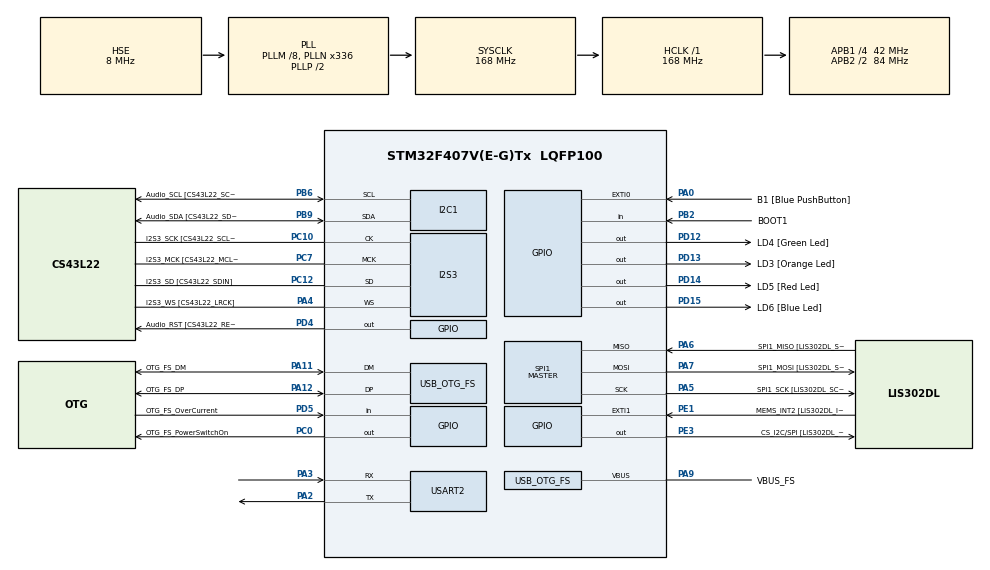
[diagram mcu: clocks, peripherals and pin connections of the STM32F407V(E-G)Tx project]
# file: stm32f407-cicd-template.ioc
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I2S3.AudioFreq-Half_Duplex_Master=I2S_AUDIOFREQ_96K
I2S3.ErrorAudioFreq=-2.34 %
I2S3.ErrorAudioFreq-Half_Duplex_Master=0.8 %
I2S3.FullDuplexMode=I2S_FULLDUPLEXMODE_DISABLE
I2S3.Instance=SPI$Index
I2S3.RealAudioFreq=93.75 KHz
I2S3.RealAudioFreq-Half_Duplex_Master=96.774 KHz
I2S3.VirtualMode=I2S_MODE_MASTER
Mcu.Family=STM32F4
Mcu.Name=STM32F407V(E-G)Tx
Mcu.Package=LQFP100
NVIC.OTG_FS_IRQn=true\:0\:0\:false\:false\:true\:true\:true\:true
NVIC.PriorityGroup=NVIC_PRIORITYGROUP_0
PA0-WKUP.GPIO_Label=B1 [Blue PushButton]
PA0-WKUP.GPIO_ModeDefaultEXTI=GPIO_MODE_EVT_RISING
PA0-WKUP.GPIO_PuPd=GPIO_NOPULL
PA0-WKUP.Signal=GPXTI0
PA10.GPIO_Label=OTG_FS_ID
PA10.GPIO_Mode=GPIO_MODE_AF_PP
PA10.GPIO_PuPd=GPIO_NOPULL
PA10.GPIO_Speed=GPIO_SPEED_FREQ_LOW
PA10.Signal=USB_OTG_FS_ID
PA11.GPIO_Label=OTG_FS_DM
PA11.GPIO_Mode=GPIO_MODE_AF_PP
PA11.GPIO_PuPd=GPIO_NOPULL
PA11.GPIO_Speed=GPIO_SPEED_FREQ_LOW
PA11.Mode=Host_Only
PA11.Signal=USB_OTG_FS_DM
PA12.GPIO_Label=OTG_FS_DP
PA12.GPIO_Mode=GPIO_MODE_AF_PP
PA12.GPIO_PuPd=GPIO_NOPULL
PA12.GPIO_Speed=GPIO_SPEED_FREQ_LOW
PA12.Mode=Host_Only
PA12.Signal=USB_OTG_FS_DP
PA13.GPIO_Label=SWDIO
PA13.Mode=Serial_Wire
PA13.Signal=SYS_JTMS-SWDIO
PA14.GPIO_Label=SWCLK
PA14.Mode=Serial_Wire
PA14.Signal=SYS_JTCK-SWCLK
PA2.Mode=Asynchronous
PA2.Signal=USART2_TX
PA3.Mode=Asynchronous
PA3.Signal=USART2_RX
PA4.GPIO_Label=I2S3_WS [CS43L22_LRCK]
PA4.GPIO_Mode=GPIO_MODE_AF_PP
PA4.GPIO_PuPd=GPIO_NOPULL
PA4.GPIO_Speed=GPIO_SPEED_FREQ_LOW
PA4.Mode=Half_Duplex_Master
PA4.Signal=I2S3_WS
PA5.GPIO_Label=SPI1_SCK [LIS302DL_SCL/SPC]
PA5.GPIO_Mode=GPIO_MODE_AF_PP
PA5.GPIO_PuPd=GPIO_NOPULL
PA5.GPIO_Speed=GPIO_SPEED_FREQ_LOW
PA5.Mode=Full_Duplex_Master
PA5.Signal=SPI1_SCK
PA6.GPIO_Label=SPI1_MISO [LIS302DL_SDO]
PA6.GPIO_Mode=GPIO_MODE_AF_PP
PA6.GPIO_PuPd=GPIO_NOPULL
PA6.GPIO_Speed=GPIO_SPEED_FREQ_LOW
PA6.Mode=Full_Duplex_Master
PA6.Signal=SPI1_MISO
PA7.GPIO_Label=SPI1_MOSI [LIS302DL_SDA/SDI/SDO]
PA7.GPIO_Mode=GPIO_MODE_AF_PP
PA7.GPIO_PuPd=GPIO_NOPULL
PA7.GPIO_Speed=GPIO_SPEED_FREQ_LOW
PA7.Mode=Full_Duplex_Master
PA7.Signal=SPI1_MOSI
PA9.GPIO_Label=VBUS_FS
PA9.GPIO_Mode=GPIO_MODE_INPUT
PA9.GPIO_PuPd=GPIO_NOPULL
PA9.Mode=Activate_VBUS
PA9.Signal=USB_OTG_FS_VBUS
PB10.GPIO_Label=CLK_IN [MP45DT02_CLK]
PB10.GPIO_Mode=GPIO_MODE_AF_PP
PB10.GPIO_PuPd=GPIO_NOPULL
PB10.GPIO_Speed=GPIO_SPEED_FREQ_LOW
PB10.Signal=I2S2_CK
PB2.GPIO_Label=BOOT1
PB2.GPIO_Mode=GPIO_MODE_INPUT
PB2.GPIO_PuPd=GPIO_NOPULL
PB2.Signal=GPIO_Input
PB3.GPIO_Label=SWO
PB3.Signal=SYS_JTDO-SWO
PB6.GPIO_Label=Audio_SCL [CS43L22_SCL]
PB6.GPIO_Mode=GPIO_MODE_AF_OD
PB6.GPIO_Pu=GPIO_PULLUP
PB6.GPIO_PuPd=GPIO_NOPULL
PB6.GPIO_Speed=GPIO_SPEED_FREQ_LOW
PB6.Mode=I2C
PB6.Signal=I2C1_SCL
PB9.GPIO_Label=Audio_SDA [CS43L22_SDA]
PB9.GPIO_Mode=GPIO_MODE_AF_OD
PB9.GPIO_Pu=GPIO_PULLUP
PB9.GPIO_PuPd=GPIO_NOPULL
PB9.GPIO_Speed=GPIO_SPEED_FREQ_LOW
PB9.Mode=I2C
PB9.Signal=I2C1_SDA
PC0.GPIO_Label=OTG_FS_PowerSwitchOn
PC0.GPIO_PuPd=GPIO_NOPULL
PC0.GPIO_Speed=GPIO_SPEED_FREQ_LOW
PC0.PinState=GPIO_PIN_SET
PC0.Signal=GPIO_Output
PC10.GPIO_Label=I2S3_SCK [CS43L22_SCLK]
PC10.GPIO_Mode=GPIO_MODE_AF_PP
PC10.GPIO_PuPd=GPIO_NOPULL
PC10.GPIO_Speed=GPIO_SPEED_FREQ_LOW
PC10.Mode=Half_Duplex_Master
PC10.Signal=I2S3_CK
PC12.GPIO_Label=I2S3_SD [CS43L22_SDIN]
PC12.GPIO_Mode=GPIO_MODE_AF_PP
PC12.GPIO_PuPd=GPIO_NOPULL
PC12.GPIO_Speed=GPIO_SPEED_FREQ_LOW
PC12.Mode=Half_Duplex_Master
PC12.Signal=I2S3_SD
PC14-OSC32_IN.GPIO_Label=PC14-OSC32_IN
PC14-OSC32_IN.Mode=LSE-External-Oscillator
PC14-OSC32_IN.Signal=RCC_OSC32_IN
PC15-OSC32_OUT.GPIO_Label=PC15-OSC32_OUT
PC15-OSC32_OUT.Mode=LSE-External-Oscillator
PC15-OSC32_OUT.Signal=RCC_OSC32_OUT
PC3.GPIO_Label=PDM_OUT [MP45DT02_DOUT]
PC3.GPIO_Mode=GPIO_MODE_AF_PP
PC3.GPIO_PuPd=GPIO_NOPULL
PC3.GPIO_Speed=GPIO_SPEED_FREQ_LOW
PC3.Signal=I2S2_SD
PC7.GPIO_Label=I2S3_MCK [CS43L22_MCLK]
PC7.GPIO_Mode=GPIO_MODE_AF_PP
PC7.GPIO_PuPd=GPIO_NOPULL
PC7.GPIO_Speed=GPIO_SPEED_FREQ_LOW
PC7.Mode=Master_Clock_Activated
PC7.Signal=I2S3_MCK
PD12.GPIO_Label=LD4 [Green Led]
PD12.GPIO_PuPd=GPIO_NOPULL
PD12.GPIO_Speed=GPIO_SPEED_FREQ_LOW
PD12.Signal=GPIO_Output
PD13.GPIO_Label=LD3 [Orange Led]
PD13.GPIO_PuPd=GPIO_NOPULL
PD13.GPIO_Speed=GPIO_SPEED_FREQ_LOW
PD13.Signal=GPIO_Output
PD14.GPIO_Label=LD5 [Red Led]
PD14.GPIO_PuPd=GPIO_NOPULL
PD14.GPIO_Speed=GPIO_SPEED_FREQ_LOW
PD14.Signal=GPIO_Output
PD15.GPIO_Label=LD6 [Blue Led]
PD15.GPIO_PuPd=GPIO_NOPULL
PD15.GPIO_Speed=GPIO_SPEED_FREQ_LOW
PD15.Signal=GPIO_Output
PD4.GPIO_Label=Audio_RST [CS43L22_RESET]
PD4.GPIO_PuPd=GPIO_NOPULL
PD4.GPIO_Speed=GPIO_SPEED_FREQ_LOW
PD4.Signal=GPIO_Output
PD5.GPIO_Label=OTG_FS_OverCurrent
PD5.GPIO_Mode=GPIO_MODE_INPUT
PD5.GPIO_PuPd=GPIO_NOPULL
PD5.Signal=GPIO_Input
PE1.GPIO_Label=MEMS_INT2 [LIS302DL_INT2]
PE1.GPIO_ModeDefaultEXTI=GPIO_MODE_EVT_RISING
PE1.GPIO_PuPd=GPIO_NOPULL
PE1.Signal=GPXTI1
PE3.GPIO_Label=CS_I2C/SPI [LIS302DL_CS_I2C/SPI]
PE3.GPIO_PuPd=GPIO_NOPULL
PE3.GPIO_Speed=GPIO_SPEED_FREQ_LOW
PE3.Signal=GPIO_Output
PH0-OSC_IN.GPIO_Label=PH0-OSC_IN
PH0-OSC_IN.Mode=HSE-External-Oscillator
PH0-OSC_IN.Signal=RCC_OSC_IN
PH1-OSC_OUT.GPIO_Label=PH1-OSC_OUT
PH1-OSC_OUT.Mode=HSE-External-Oscillator
PH1-OSC_OUT.Signal=RCC_OSC_OUT
ProjectManager.HeapSize=0x200
ProjectManager.StackSize=0x400
ProjectManager.TargetToolchain=STM32CubeIDE
RCC.48MHZClocksFreq_Value=48000000
RCC.AHBFreq_Value=168000000
RCC.APB1CLKDivider=RCC_HCLK_DIV4
RCC.APB1Freq_Value=42000000
RCC.APB1TimFreq_Value=84000000
RCC.APB2CLKDivider=RCC_HCLK_DIV2
RCC.APB2Freq_Value=84000000
RCC.APB2TimFreq_Value=168000000
RCC.CortexFreq_Value=168000000
RCC.HCLKFreq_Value=168000000
RCC.HSE_VALUE=8000000
RCC.HSI_VALUE=16000000
RCC.PLLM=8
RCC.PLLN=336
RCC.PLLQ=7
RCC.SYSCLKFreq_VALUE=168000000
RCC.SYSCLKSource=RCC_SYSCLKSOURCE_PLLCLK
RCC.VCOOutputFreq_Value=336000000
SPI1.BaudRatePrescaler-Full_Duplex_Master=SPI_BAUDRATEPRESCALER_2
SPI1.CalculateBaudRate-Full_Duplex_Master=42.0 MBits/s
SPI1.Direction=SPI_DIRECTION_2LINES
SPI1.Mode=SPI_MODE_MASTER
SPI1.Mode-Full_Duplex_Master=SPI_MODE_MASTER
SPI1.VirtualType=VM_MASTER
USART2.VirtualMode=VM_ASYNC
USB_HOST.BSP.number=1
USB_HOST.USBH_HandleTypeDef-CDC_FS=hUsbHostFS
USB_HOST.VirtualModeFS=Cdc
USB_HOST0.BSP.STBoard=false
USB_HOST0.BSP.api=Unknown
USB_HOST0.BSP.instance=PC0
USB_HOST0.BSP.ip=GPIO
USB_HOST0.BSP.mode=Output
USB_HOST0.BSP.name=Drive_VBUS_FS
USB_HOST0.BSP.solution=PC0
USB_OTG_FS.VirtualMode=Host_Only
USB_OTG_FS.phy_itface=HCD_PHY_EMBEDDED
VP_USB_HOST_VS_USB_HOST_CDC_FS.Mode=CDC_FS
board=STM32F407G-DISC1

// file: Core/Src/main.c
/* USER CODE BEGIN Header */
/**
  ******************************************************************************
  * @file           : main.c
  * @brief          : Main program body
  ******************************************************************************
  * @attention
  *
  * Copyright (c) 2026 STMicroelectronics.
  * All rights reserved.
  *
  * This software is licensed under terms that can be found in the LICENSE file
  * in the root directory of this software component.
  * If no LICENSE file comes with this software, it is provided AS-IS.
  *
  ******************************************************************************
  */
/* USER CODE END Header */
#include "main.h"
#include "usb_host.h"

I2C_HandleTypeDef hi2c1;

I2S_HandleTypeDef hi2s3;

SPI_HandleTypeDef hspi1;

UART_HandleTypeDef huart2;

void SystemClock_Config(void);
static void MX_GPIO_Init(void);
static void MX_I2C1_Init(void);
static void MX_I2S3_Init(void);
static void MX_SPI1_Init(void);
static void MX_USART2_UART_Init(void);
void MX_USB_HOST_Process(void);

int main(void)
{

  /* MCU Configuration--------------------------------------------------------*/

  /* Reset of all peripherals, Initializes the Flash interface and the Systick. */
  HAL_Init();

  /* Configure the system clock */
  SystemClock_Config();

  /* Initialize all configured peripherals */
  MX_GPIO_Init();
  MX_I2C1_Init();
  MX_I2S3_Init();
  MX_SPI1_Init();
  MX_USB_HOST_Init();
  MX_USART2_UART_Init();

  /* Infinite loop */
  /* USER CODE BEGIN WHILE */
while (1)
{
    /*
     * These static variables are initialized only once.
     * Their values are preserved between loop iterations.
     */
    static uint32_t lastLedUpdateMs = 0U;
    static uint32_t lastButtonChangeMs = 0U;

    static uint8_t currentLed = 0U;
    static int8_t direction = 1;

    static GPIO_PinState lastButtonReading = GPIO_PIN_RESET;
    static GPIO_PinState stableButtonState = GPIO_PIN_RESET;

    uint32_t currentTimeMs;
    GPIO_PinState currentButtonReading;

    currentTimeMs = HAL_GetTick();

    /*
     * Read the blue user button.
     * B1 on PA0 becomes GPIO_PIN_SET when pressed.
     */
    currentButtonReading = HAL_GPIO_ReadPin(
        B1_GPIO_Port,
        B1_Pin
    );

    /*
     * Detect a change in the raw button signal.
     * Restart the debounce timer whenever a transition occurs.
     */
    if (currentButtonReading != lastButtonReading)
    {
        lastButtonReading = currentButtonReading;
        lastButtonChangeMs = currentTimeMs;
    }

    /*
     * Accept the new button state only after it remains
     * stable for at least 50 milliseconds.
     */
    if ((currentTimeMs - lastButtonChangeMs) >= 100U)
    {
        if (currentButtonReading != stableButtonState)
        {
            stableButtonState = currentButtonReading;

            /*
             * Change direction only on the press event.
             * Releasing the button does not change the direction.
             */
            if (stableButtonState == GPIO_PIN_SET)
            {
                direction = (int8_t)(-direction);
            }
        }
    }

    /*
     * Update the LED sequence every 150 milliseconds.
     * No HAL_Delay() is necessary.
     */
    if ((currentTimeMs - lastLedUpdateMs) >= 1030U)
    {
        lastLedUpdateMs = currentTimeMs;

        /*
         * Turn off all user LEDs.
         */
        HAL_GPIO_WritePin(
            GPIOD,
            LD3_Pin | LD4_Pin | LD5_Pin | LD6_Pin,
            GPIO_PIN_RESET
        );

        /*
         * Turn on the currently selected LED.
         *
         * currentLed = 0 -> LD4, green
         * currentLed = 1 -> LD3, orange
         * currentLed = 2 -> LD5, red
         * currentLed = 3 -> LD6, blue
         */
        switch (currentLed)
        {
            case 0U:
            {
                HAL_GPIO_WritePin(
                    LD4_GPIO_Port,
                    LD4_Pin,
                    GPIO_PIN_SET
                );
                break;
            }

            case 1U:
            {
                HAL_GPIO_WritePin(
                    LD3_GPIO_Port,
                    LD3_Pin,
                    GPIO_PIN_SET
                );
                break;
            }

            case 2U:
            {
                HAL_GPIO_WritePin(
                    LD5_GPIO_Port,
                    LD5_Pin,
                    GPIO_PIN_SET
                );
                break;
            }

            case 3U:
            {
                HAL_GPIO_WritePin(
                    LD6_GPIO_Port,
                    LD6_Pin,
                    GPIO_PIN_SET
                );
                break;
            }

            default:
            {
                currentLed = 0U;
                break;
            }
        }

        /*
         * Calculate the next LED according to the current direction.
         */
        if (direction > 0)
        {
            currentLed++;

            if (currentLed >= 4U)
            {
                currentLed = 0U;
            }
        }
        else
        {
            if (currentLed == 0U)
            {
                currentLed = 3U;
            }
            else
            {
                currentLed--;
            }
        }
    }

    /* USER CODE END WHILE */
    MX_USB_HOST_Process();

}
}

void SystemClock_Config(void)
{
  RCC_OscInitTypeDef RCC_OscInitStruct = {0};
  RCC_ClkInitTypeDef RCC_ClkInitStruct = {0};

  /** Configure the main internal regulator output voltage
  */
  __HAL_RCC_PWR_CLK_ENABLE();
  __HAL_PWR_VOLTAGESCALING_CONFIG(PWR_REGULATOR_VOLTAGE_SCALE1);

  /** Initializes the RCC Oscillators according to the specified parameters
  * in the RCC_OscInitTypeDef structure.
  */
  RCC_OscInitStruct.OscillatorType = RCC_OSCILLATORTYPE_HSE;
  RCC_OscInitStruct.HSEState = RCC_HSE_ON;
  RCC_OscInitStruct.PLL.PLLState = RCC_PLL_ON;
  RCC_OscInitStruct.PLL.PLLSource = RCC_PLLSOURCE_HSE;
  RCC_OscInitStruct.PLL.PLLM = 8;
  RCC_OscInitStruct.PLL.PLLN = 336;
  RCC_OscInitStruct.PLL.PLLP = RCC_PLLP_DIV2;
  RCC_OscInitStruct.PLL.PLLQ = 7;
  if (HAL_RCC_OscConfig(&RCC_OscInitStruct) != HAL_OK)
  {
    Error_Handler();
  }

  /** Initializes the CPU, AHB and APB buses clocks
  */
  RCC_ClkInitStruct.ClockType = RCC_CLOCKTYPE_HCLK|RCC_CLOCKTYPE_SYSCLK
                              |RCC_CLOCKTYPE_PCLK1|RCC_CLOCKTYPE_PCLK2;
  RCC_ClkInitStruct.SYSCLKSource = RCC_SYSCLKSOURCE_PLLCLK;
  RCC_ClkInitStruct.AHBCLKDivider = RCC_SYSCLK_DIV1;
  RCC_ClkInitStruct.APB1CLKDivider = RCC_HCLK_DIV4;
  RCC_ClkInitStruct.APB2CLKDivider = RCC_HCLK_DIV2;

  if (HAL_RCC_ClockConfig(&RCC_ClkInitStruct, FLASH_LATENCY_5) != HAL_OK)
  {
    Error_Handler();
  }
}

static void MX_I2C1_Init(void)
{

  hi2c1.Instance = I2C1;
  hi2c1.Init.ClockSpeed = 100000;
  hi2c1.Init.DutyCycle = I2C_DUTYCYCLE_2;
  hi2c1.Init.OwnAddress1 = 0;
  hi2c1.Init.AddressingMode = I2C_ADDRESSINGMODE_7BIT;
  hi2c1.Init.DualAddressMode = I2C_DUALADDRESS_DISABLE;
  hi2c1.Init.OwnAddress2 = 0;
  hi2c1.Init.GeneralCallMode = I2C_GENERALCALL_DISABLE;
  hi2c1.Init.NoStretchMode = I2C_NOSTRETCH_DISABLE;
  if (HAL_I2C_Init(&hi2c1) != HAL_OK)
  {
    Error_Handler();
  }

}

static void MX_I2S3_Init(void)
{

  hi2s3.Instance = SPI3;
  hi2s3.Init.Mode = I2S_MODE_MASTER_TX;
  hi2s3.Init.Standard = I2S_STANDARD_PHILIPS;
  hi2s3.Init.DataFormat = I2S_DATAFORMAT_16B;
  hi2s3.Init.MCLKOutput = I2S_MCLKOUTPUT_ENABLE;
  hi2s3.Init.AudioFreq = I2S_AUDIOFREQ_96K;
  hi2s3.Init.CPOL = I2S_CPOL_LOW;
  hi2s3.Init.ClockSource = I2S_CLOCK_PLL;
  hi2s3.Init.FullDuplexMode = I2S_FULLDUPLEXMODE_DISABLE;
  if (HAL_I2S_Init(&hi2s3) != HAL_OK)
  {
    Error_Handler();
  }

}

static void MX_SPI1_Init(void)
{

  /* SPI1 parameter configuration*/
  hspi1.Instance = SPI1;
  hspi1.Init.Mode = SPI_MODE_MASTER;
  hspi1.Init.Direction = SPI_DIRECTION_2LINES;
  hspi1.Init.DataSize = SPI_DATASIZE_8BIT;
  hspi1.Init.CLKPolarity = SPI_POLARITY_LOW;
  hspi1.Init.CLKPhase = SPI_PHASE_1EDGE;
  hspi1.Init.NSS = SPI_NSS_SOFT;
  hspi1.Init.BaudRatePrescaler = SPI_BAUDRATEPRESCALER_2;
  hspi1.Init.FirstBit = SPI_FIRSTBIT_MSB;
  hspi1.Init.TIMode = SPI_TIMODE_DISABLE;
  hspi1.Init.CRCCalculation = SPI_CRCCALCULATION_DISABLE;
  hspi1.Init.CRCPolynomial = 10;
  if (HAL_SPI_Init(&hspi1) != HAL_OK)
  {
    Error_Handler();
  }

}

static void MX_USART2_UART_Init(void)
{

  huart2.Instance = USART2;
  huart2.Init.BaudRate = 115200;
  huart2.Init.WordLength = UART_WORDLENGTH_8B;
  huart2.Init.StopBits = UART_STOPBITS_1;
  huart2.Init.Parity = UART_PARITY_NONE;
  huart2.Init.Mode = UART_MODE_TX_RX;
  huart2.Init.HwFlowCtl = UART_HWCONTROL_NONE;
  huart2.Init.OverSampling = UART_OVERSAMPLING_16;
  if (HAL_UART_Init(&huart2) != HAL_OK)
  {
    Error_Handler();
  }

}

static void MX_GPIO_Init(void)
{
  GPIO_InitTypeDef GPIO_InitStruct = {0};

  /* GPIO Ports Clock Enable */
  __HAL_RCC_GPIOE_CLK_ENABLE();
  __HAL_RCC_GPIOC_CLK_ENABLE();
  __HAL_RCC_GPIOH_CLK_ENABLE();
  __HAL_RCC_GPIOA_CLK_ENABLE();
  __HAL_RCC_GPIOB_CLK_ENABLE();
  __HAL_RCC_GPIOD_CLK_ENABLE();

  /*Configure GPIO pin Output Level */
  HAL_GPIO_WritePin(CS_I2C_SPI_GPIO_Port, CS_I2C_SPI_Pin, GPIO_PIN_RESET);

  /*Configure GPIO pin Output Level */
  HAL_GPIO_WritePin(OTG_FS_PowerSwitchOn_GPIO_Port, OTG_FS_PowerSwitchOn_Pin, GPIO_PIN_SET);

  /*Configure GPIO pin Output Level */
  HAL_GPIO_WritePin(GPIOD, LD4_Pin|LD3_Pin|LD5_Pin|LD6_Pin
                          |Audio_RST_Pin, GPIO_PIN_RESET);

  /*Configure GPIO pin : CS_I2C_SPI_Pin */
  GPIO_InitStruct.Pin = CS_I2C_SPI_Pin;
  GPIO_InitStruct.Mode = GPIO_MODE_OUTPUT_PP;
  GPIO_InitStruct.Pull = GPIO_NOPULL;
  GPIO_InitStruct.Speed = GPIO_SPEED_FREQ_LOW;
  HAL_GPIO_Init(CS_I2C_SPI_GPIO_Port, &GPIO_InitStruct);

  /*Configure GPIO pin : OTG_FS_PowerSwitchOn_Pin */
  GPIO_InitStruct.Pin = OTG_FS_PowerSwitchOn_Pin;
  GPIO_InitStruct.Mode = GPIO_MODE_OUTPUT_PP;
  GPIO_InitStruct.Pull = GPIO_NOPULL;
  GPIO_InitStruct.Speed = GPIO_SPEED_FREQ_LOW;
  HAL_GPIO_Init(OTG_FS_PowerSwitchOn_GPIO_Port, &GPIO_InitStruct);

  /*Configure GPIO pin : PDM_OUT_Pin */
  GPIO_InitStruct.Pin = PDM_OUT_Pin;
  GPIO_InitStruct.Mode = GPIO_MODE_AF_PP;
  GPIO_InitStruct.Pull = GPIO_NOPULL;
  GPIO_InitStruct.Speed = GPIO_SPEED_FREQ_LOW;
  GPIO_InitStruct.Alternate = GPIO_AF5_SPI2;
  HAL_GPIO_Init(PDM_OUT_GPIO_Port, &GPIO_InitStruct);

  /*Configure GPIO pin : B1_Pin */
  GPIO_InitStruct.Pin = B1_Pin;
  GPIO_InitStruct.Mode = GPIO_MODE_EVT_RISING;
  GPIO_InitStruct.Pull = GPIO_NOPULL;
  HAL_GPIO_Init(B1_GPIO_Port, &GPIO_InitStruct);

  /*Configure GPIO pin : BOOT1_Pin */
  GPIO_InitStruct.Pin = BOOT1_Pin;
  GPIO_InitStruct.Mode = GPIO_MODE_INPUT;
  GPIO_InitStruct.Pull = GPIO_NOPULL;
  HAL_GPIO_Init(BOOT1_GPIO_Port, &GPIO_InitStruct);

  /*Configure GPIO pin : CLK_IN_Pin */
  GPIO_InitStruct.Pin = CLK_IN_Pin;
  GPIO_InitStruct.Mode = GPIO_MODE_AF_PP;
  GPIO_InitStruct.Pull = GPIO_NOPULL;
  GPIO_InitStruct.Speed = GPIO_SPEED_FREQ_LOW;
  GPIO_InitStruct.Alternate = GPIO_AF5_SPI2;
  HAL_GPIO_Init(CLK_IN_GPIO_Port, &GPIO_InitStruct);

  /*Configure GPIO pins : LD4_Pin LD3_Pin LD5_Pin LD6_Pin
                           Audio_RST_Pin */
  GPIO_InitStruct.Pin = LD4_Pin|LD3_Pin|LD5_Pin|LD6_Pin
                          |Audio_RST_Pin;
  GPIO_InitStruct.Mode = GPIO_MODE_OUTPUT_PP;
  GPIO_InitStruct.Pull = GPIO_NOPULL;
  GPIO_InitStruct.Speed = GPIO_SPEED_FREQ_LOW;
  HAL_GPIO_Init(GPIOD, &GPIO_InitStruct);

  /*Configure GPIO pin : OTG_FS_OverCurrent_Pin */
  GPIO_InitStruct.Pin = OTG_FS_OverCurrent_Pin;
  GPIO_InitStruct.Mode = GPIO_MODE_INPUT;
  GPIO_InitStruct.Pull = GPIO_NOPULL;
  HAL_GPIO_Init(OTG_FS_OverCurrent_GPIO_Port, &GPIO_InitStruct);

  /*Configure GPIO pin : MEMS_INT2_Pin */
  GPIO_InitStruct.Pin = MEMS_INT2_Pin;
  GPIO_InitStruct.Mode = GPIO_MODE_EVT_RISING;
  GPIO_InitStruct.Pull = GPIO_NOPULL;
  HAL_GPIO_Init(MEMS_INT2_GPIO_Port, &GPIO_InitStruct);

}

void Error_Handler(void)
{
  __disable_irq();
  while (1)
  {
  }
}
